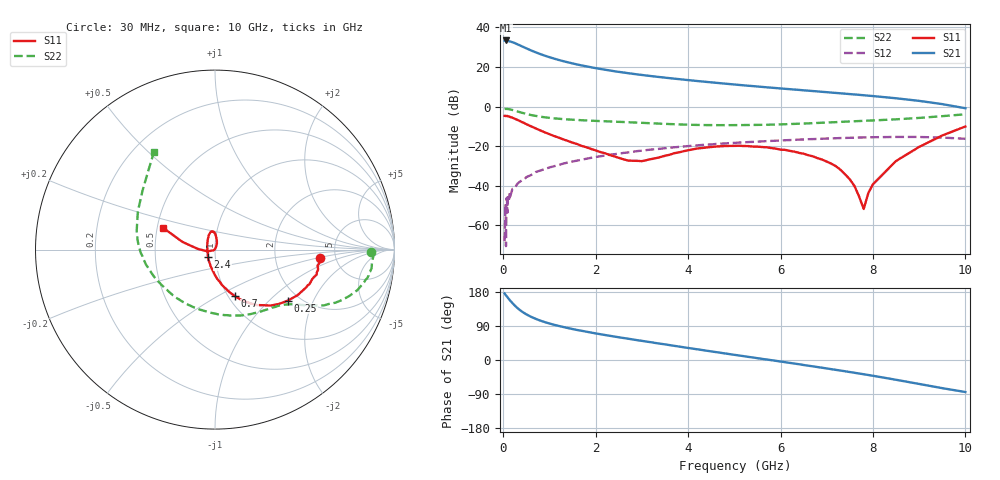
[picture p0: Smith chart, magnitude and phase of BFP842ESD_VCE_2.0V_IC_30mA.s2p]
! Infineon Technologies  Discrete & RF Semiconductors
! BFP842ESD
! VCE =  2.0 V,  IC =  30 mA
! Common Emitter S-Parameters:  May 2012
# GHz  S  MA  R  50
!  f  S11  S21  S12  S22
! GHz  MAG  ANG  MAG  ANG  MAG  ANG  MAG  ANG
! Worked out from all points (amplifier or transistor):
!   99 points, 30 MHz to 10 GHz, reference 50 ohm
!   highest |S21| = 33.4 dB at 60 MHz (marker M1)
!   |S21| within 3 dB of that: start of sweep to 407 MHz
!   unconditionally stable (mu >= 1): start of sweep to 40.56 MHz; 55.49 MHz to 63.52 MHz; 1.5 GHz to end of sweep
!   at 350 MHz: K = 0.63, MSG = 34.6 dB, |S12| = -38.1 dB
!   at 3.5 GHz: K = 1.11, MAG = 15.8 dB, |S12| = -21.0 dB
!   at 10 GHz: K = 1.90, MAG = 2.3 dB, |S12| = -16.2 dB
!   S11 on the Smith chart (normalised r, x): 30 MHz: 3.74, -0.55; 250 MHz: 1.74, -1.31; 700 MHz: 1.08, -0.61; 2.4 GHz: 0.92, -0.07; 10 GHz: 0.54, +0.15
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0.03  0.5853 -4.7  46.59 175.6  0.0004 168.9  0.8695 -0.7
0.05  0.5856 -7.6  46.34 172.1  0.0035 85.8  0.8821 -2.8
0.06  0.5782 -8.8  47.03 170.5  0.0003 137.6  0.8794 -3.6
0.07  0.5853 -10.9  46.5 169.1  0.0048 79.9  0.8776 -5.1
0.11  0.5666 -16.7  45.8 162.7  0.0059 60.6  0.8688 -8.4
0.15  0.5494 -22.6  44.41 156.9  0.0054 64.1  0.8514 -12.2
0.25  0.4956 -35.0  40.39 143.7  0.0087 70.5  0.7923 -19.0
0.35  0.4401 -45.1  35.79 132.9  0.0125 69.8  0.7331 -23.8
0.45  0.3881 -52.8  31.6 124.2  0.0144 71.2  0.6823 -27.1
0.6  0.3194 -62.1  26.41 114.1  0.0187 67.0  0.615 -30.4
0.7  0.2838 -66.6  23.67 108.8  0.0223 64.8  0.5859 -31.9
0.9  0.2246 -74.7  19.41 100.0  0.0266 66.6  0.5386 -34.5
1.1  0.1816 -81.6  16.39 93.0  0.0313 64.6  0.5075 -37.0
1.4  0.1361 -91.5  13.19 84.3  0.039 61.9  0.4764 -40.8
1.7  0.1019 -101.8  10.99 77.0  0.046 58.6  0.4542 -45.3
2.4  0.0558 -134.1  7.878 62.0  0.063 51.6  0.418 -57.5
3.4  0.0534 143.2  5.575 43.0  0.0867 39.5  0.3719 -79.3
5.1  0.1032 98.8  3.545 12.0  0.1243 15.9  0.3422 -125.4
6.7  0.0558 79.9  2.481 -16.8  0.1519 -7.6  0.3835 -163.2
7.8  0.0026 158.2  1.944 -37.6  0.1672 -26.4  0.4383 170.9
8.5  0.0425 -166.7  1.63 -52.2  0.1721 -40.3  0.4795 153.7
10  0.3161 157.1  0.914 -84.5  0.1545 -74.3  0.6425 121.9
